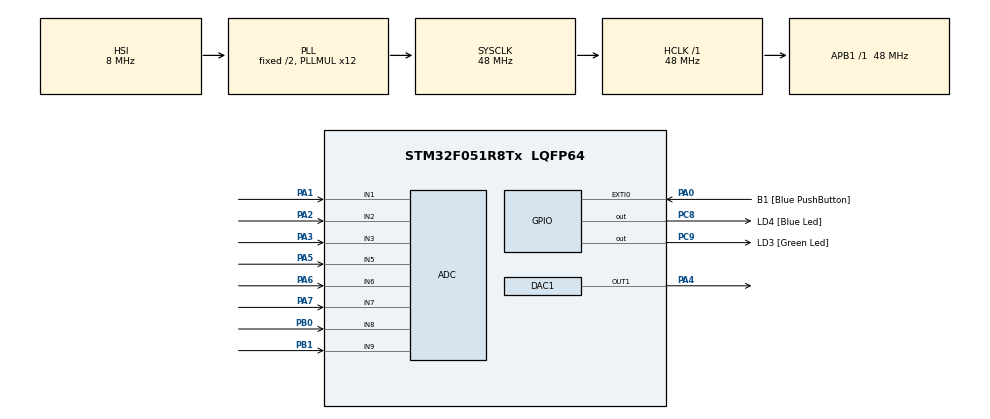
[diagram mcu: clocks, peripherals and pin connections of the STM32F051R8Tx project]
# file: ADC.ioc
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ADC.ContinuousConvMode=ENABLE
ADC.SamplingTime=ADC_SAMPLETIME_239CYCLES_5
Dma.ADC.0.Direction=DMA_PERIPH_TO_MEMORY
Dma.ADC.0.Instance=DMA1_Channel1
Dma.ADC.0.MemDataAlignment=DMA_MDATAALIGN_HALFWORD
Dma.ADC.0.MemInc=DMA_MINC_ENABLE
Dma.ADC.0.Mode=DMA_CIRCULAR
Dma.ADC.0.PeriphDataAlignment=DMA_PDATAALIGN_HALFWORD
Dma.ADC.0.PeriphInc=DMA_PINC_DISABLE
Dma.ADC.0.Priority=DMA_PRIORITY_LOW
Dma.Request0=ADC
Mcu.Family=STM32F0
Mcu.Name=STM32F051R8Tx
Mcu.Package=LQFP64
NVIC.ADC1_COMP_IRQn=true\:0\:0\:false\:false\:true\:true
NVIC.DMA1_Channel1_IRQn=true\:0\:0\:false\:false\:true\:false
NVIC.TIM2_IRQn=true\:0\:0\:false\:false\:true\:true
PA0.GPIO_Label=B1 [Blue PushButton]
PA0.GPIO_ModeDefaultEXTI=GPIO_MODE_EVT_RISING
PA0.Signal=GPXTI0
PA1.Mode=IN1
PA1.Signal=ADC_IN1
PA13.GPIO_Label=SWDIO
PA13.Mode=Serial_Wire
PA13.Signal=SYS_SWDIO
PA14.GPIO_Label=SWCLK
PA14.Mode=Serial_Wire
PA14.Signal=SYS_SWCLK
PA2.Mode=IN2
PA2.Signal=ADC_IN2
PA3.Mode=IN3
PA3.Signal=ADC_IN3
PA4.Signal=COMP_DAC11_group
PA5.Mode=IN5
PA5.Signal=ADC_IN5
PA6.Mode=IN6
PA6.Signal=ADC_IN6
PA7.Mode=IN7
PA7.Signal=ADC_IN7
PB0.Mode=IN8
PB0.Signal=ADC_IN8
PB1.Mode=IN9
PB1.Signal=ADC_IN9
PC8.GPIO_Label=LD4 [Blue Led]
PC8.Signal=GPIO_Output
PC9.GPIO_Label=LD3 [Green Led]
PC9.Signal=GPIO_Output
ProjectManager.HeapSize=0x200
ProjectManager.StackSize=0x400
ProjectManager.TargetToolchain=SW4STM32
RCC.AHBFreq_Value=48000000
RCC.APB1Freq_Value=48000000
RCC.APB1TimFreq_Value=48000000
RCC.HCLKFreq_Value=48000000
RCC.PLLMUL=RCC_PLL_MUL12
RCC.SYSCLKFreq_VALUE=48000000
RCC.SYSCLKSource=RCC_SYSCLKSOURCE_PLLCLK
SH.COMP_DAC11_group.0=DAC1_OUT1,DAC_OUT1
TIM2.Period=1
TIM2.Prescaler=47999
VP_TIM2_VS_ClockSourceINT.Mode=Internal
board=STM32F0DISCOVERY

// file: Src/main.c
/**
  ******************************************************************************
  * @file           : main.c
  * @brief          : Main program body
  ******************************************************************************
  ** This notice applies to any and all portions of this file
  * that are not between comment pairs USER CODE BEGIN and
  * USER CODE END. Other portions of this file, whether
  * inserted by the user or by software development tools
  * are owned by their respective copyright owners.
  *
  * COPYRIGHT(c) 2018 STMicroelectronics
  *
  * Redistribution and use in source and binary forms, with or without modification,
  * are permitted provided that the following conditions are met:
  *   1. Redistributions of source code must retain the above copyright notice,
  *      this list of conditions and the following disclaimer.
  *   2. Redistributions in binary form must reproduce the above copyright notice,
  *      this list of conditions and the following disclaimer in the documentation
  *      and/or other materials provided with the distribution.
  *   3. Neither the name of STMicroelectronics nor the names of its contributors
  *      may be used to endorse or promote products derived from this software
  *      without specific prior written permission.
  *
  * THIS SOFTWARE IS PROVIDED BY THE COPYRIGHT HOLDERS AND CONTRIBUTORS "AS IS"
  * AND ANY EXPRESS OR IMPLIED WARRANTIES, INCLUDING, BUT NOT LIMITED TO, THE
  * IMPLIED WARRANTIES OF MERCHANTABILITY AND FITNESS FOR A PARTICULAR PURPOSE ARE
  * DISCLAIMED. IN NO EVENT SHALL THE COPYRIGHT HOLDER OR CONTRIBUTORS BE LIABLE
  * FOR ANY DIRECT, INDIRECT, INCIDENTAL, SPECIAL, EXEMPLARY, OR CONSEQUENTIAL
  * DAMAGES (INCLUDING, BUT NOT LIMITED TO, PROCUREMENT OF SUBSTITUTE GOODS OR
  * SERVICES; LOSS OF USE, DATA, OR PROFITS; OR BUSINESS INTERRUPTION) HOWEVER
  * CAUSED AND ON ANY THEORY OF LIABILITY, WHETHER IN CONTRACT, STRICT LIABILITY,
  * OR TORT (INCLUDING NEGLIGENCE OR OTHERWISE) ARISING IN ANY WAY OUT OF THE USE
  * OF THIS SOFTWARE, EVEN IF ADVISED OF THE POSSIBILITY OF SUCH DAMAGE.
  *
  ******************************************************************************
  */
#include "main.h"
#include "stm32f0xx_hal.h"
#include <math.h>

ADC_HandleTypeDef hadc;
DMA_HandleTypeDef hdma_adc;

DAC_HandleTypeDef hdac1;

TIM_HandleTypeDef htim2;

/* USER CODE BEGIN PV */
/* Private variables ---------------------------------------------------------*/
float Fe = 44100; //Fréquence d'échantillonnage
float DAC_data;
uint16_t ADC_data[8];
/* 0 : Selecteur du filtre --> 5 choix
 * 1 : wc_passeBas --> de 0 à 20k
 * 2 : wc_passeHaut --> de 0 à 20k
 * 3 : wc_passeBande --> de 0 à 20k
 * 4 : Q_pb --> de 0 à 100
 * 5 : wc_coupeBande --> de 0 à 20k
 * 6 : Q_cb --> de 0 à 100
 * 7 : signal en entrée
 */
int numeroFiltre;
float wc_passeBas; //fréquence de coupure
float wc_passeHaut;
float w0_passeBande;
float Q_pb;
float w0_coupeBande;
float Q_cb;

float signal[3]; // signal[t, t-1]
float stk_signal1 = 0;
float stk_signal2 = 0;

float sortie[3]; // sortie[t, t-1]
float stk_sortie1 = 0;
float stk_sortie2 = 0;

float Gain = 7;
/* USER CODE END PV */

void SystemClock_Config(void);
static void MX_GPIO_Init(void);
static void MX_DMA_Init(void);
static void MX_ADC_Init(void);
static void MX_DAC1_Init(void);
static void MX_TIM2_Init(void);

/* USER CODE BEGIN PFP */
/* Private function prototypes -----------------------------------------------*/

/* USER CODE END PFP */

/* USER CODE BEGIN 0 */

void filtrePasseBas(float wc_passeBas) {

	stk_sortie1 = sortie[2];

	sortie[2] = (Gain*signal[2]*wc_passeBas + Gain*signal[1] - (1 - 2*Fe)*sortie[1])/ (wc_passeBas + 2*Fe);

	sortie[1] = stk_sortie1;

}

void filtrePasseHaut(float wc_passeHaut) {

	stk_sortie1 = sortie[2];

	sortie[2] = (2*Gain*Fe*signal[2] - 2*Gain*Fe*signal[1] - (wc_passeHaut - 2*Fe)*sortie[0]) / (wc_passeHaut + 2*Fe);

	sortie[1] = stk_sortie1;

}

void filtrePasseBande(float w0_passeBande, float Q_pb) {
	stk_sortie2 = sortie[2];
	stk_sortie1 = sortie[1];

	sortie[2] = (2*w0_passeBande*Fe*signal[2] - 2*w0_passeBande*Fe*signal[0] + (8*Q_pb*pow(Fe,2) - 2*Q_pb*pow(w0_passeBande,2))*sortie[1] + (2*Fe*w0_passeBande - 4*Q_pb*pow(Fe,2) - Q_pb*pow(w0_passeBande,2))*sortie[0]) / (2*Fe*w0_passeBande + 4*Q_pb*pow(Fe,2) + Q_pb*pow(w0_passeBande,2));

	sortie[0] = stk_sortie1;
	sortie[1] = stk_sortie2;
}

void filtreCoupeBande(float w0_coupeBande,float Q_cb) {
	stk_sortie2 = sortie[2];
	stk_sortie1 = sortie[1];

	sortie[2] = ((4*Q_cb*pow(Fe,2) + Q_cb*pow(w0_coupeBande,2))*signal[2] + (2*Q_cb*pow(w0_coupeBande,2) - 8*Q_cb*pow(Fe,2))*signal[1] + (4*Q_cb*pow(Fe,2) + Q_cb*pow(w0_coupeBande,2))*signal[0] + (8*Q_cb*pow(Fe,2) - 2*Q_cb*pow(w0_coupeBande,2))*sortie[1] + (2*Fe*w0_coupeBande - 4*Q_cb*pow(Fe,2) - Q_cb*pow(w0_coupeBande,2))*sortie[0])/(2*Fe*w0_coupeBande + 4*Q_cb*pow(Fe,2) + Q_cb*pow(w0_coupeBande,2));

	sortie[0] = stk_sortie1;
	sortie[1] = stk_sortie2;
}

void filtrePasseTout() {
	sortie[2] = signal[2];
}

void choixFiltre(int numeroFiltre) {
	switch(numeroFiltre) {

	case 1:

		wc_passeBas = 2695*ADC_data[1]/4095 + 408;

		stk_signal1 = signal[2];

		signal[2] = ADC_data[7]; //ADC_data[7]*(3.3/4095);

		signal[1] = stk_signal1;

		filtrePasseBas(wc_passeBas);
		break;

	case 2:

		wc_passeHaut = 2695*ADC_data[2]/4095 + 408;

		stk_signal1 = signal[2];

		signal[2] = ADC_data[7]; //ADC_data[7]*(3.3/4095);

		signal[1] = stk_signal1;

		filtrePasseHaut(wc_passeHaut);
		break;

	case 3:

		//w0_passeBande = 2695*ADC_data[3]/4095 + 408;
		//Q_pb = 100*ADC_data[4]/4095;

		w0_passeBande = 2*3.14*100;
		Q_pb = 100;

		stk_signal2 = signal[2];
		stk_signal1 = signal[1];

		signal[2] = ADC_data[7]; //ADC_data[7]*(3.3/4095);

		signal[0] = stk_signal1;
		signal[1] = stk_sortie2;

		filtrePasseBande(w0_passeBande, Q_pb);
		break;

	case 4:

		//w0_coupeBande = 2695*ADC_data[5]/4095 + 408;
		//Q_cb = 100*ADC_data[6]/4095;

		stk_signal2 = signal[2];
		stk_signal1 = signal[1];

		stk_signal1 = signal[1];

		signal[1] = ADC_data[7]; //ADC_data[7]*(3.3/4095);

		signal[0] = stk_signal1;
		signal[1] = stk_sortie2;

		filtreCoupeBande(w0_coupeBande, Q_cb);
		break;

	default:

		signal[2] = ADC_data[7]; //ADC_data[7]*(3.3/4095);

		filtrePasseTout();

	}
}

void HAL_TIM_PeriodElapsedCallback(TIM_HandleTypeDef *htim) {
    if (htim->Instance==TIM2) {

    		HAL_ADC_Start_DMA(&hadc, (uint32_t*)ADC_data, 8);
    		HAL_DAC_Start(&hdac1, DAC_CHANNEL_1);

    		numeroFiltre = 0;
    		choixFiltre(numeroFiltre);

    		HAL_ADC_Start_DMA(&hadc, (uint32_t*)ADC_data, 8);
    		HAL_DAC_Start(&hdac1, DAC_CHANNEL_1);

    		//HAL_DAC_SetValue(&hdac1, DAC_CHANNEL_1,  DAC_ALIGN_12B_R, sortie[2] + 2048); //pour passe haut
    		HAL_DAC_SetValue(&hdac1, DAC_CHANNEL_1,  DAC_ALIGN_12B_R, sortie[2]);
    		DAC_data = HAL_DAC_GetValue(&hdac1, DAC_CHANNEL_1);
    }
}

/* USER CODE END 0 */

int main(void)
{

  /* MCU Configuration----------------------------------------------------------*/

  /* Reset of all peripherals, Initializes the Flash interface and the Systick. */
  HAL_Init();

  /* Configure the system clock */
  SystemClock_Config();

  /* Initialize all configured peripherals */
  MX_GPIO_Init();
  MX_DMA_Init();
  MX_ADC_Init();
  MX_DAC1_Init();
  MX_TIM2_Init();
  /* USER CODE BEGIN 2 */
  HAL_ADC_Start_DMA(&hadc, (uint32_t*)ADC_data, 8);
  HAL_DAC_Start(&hdac1, DAC_CHANNEL_1);
  /* USER CODE END 2 */

  /* Infinite loop */
  while (1)
  {

  }

}

void SystemClock_Config(void)
{

  RCC_OscInitTypeDef RCC_OscInitStruct;
  RCC_ClkInitTypeDef RCC_ClkInitStruct;

    /**Initializes the CPU, AHB and APB busses clocks
    */
  RCC_OscInitStruct.OscillatorType = RCC_OSCILLATORTYPE_HSI|RCC_OSCILLATORTYPE_HSI14;
  RCC_OscInitStruct.HSIState = RCC_HSI_ON;
  RCC_OscInitStruct.HSI14State = RCC_HSI14_ON;
  RCC_OscInitStruct.HSICalibrationValue = 16;
  RCC_OscInitStruct.HSI14CalibrationValue = 16;
  RCC_OscInitStruct.PLL.PLLState = RCC_PLL_ON;
  RCC_OscInitStruct.PLL.PLLSource = RCC_PLLSOURCE_HSI;
  RCC_OscInitStruct.PLL.PLLMUL = RCC_PLL_MUL12;
  RCC_OscInitStruct.PLL.PREDIV = RCC_PREDIV_DIV1;
  if (HAL_RCC_OscConfig(&RCC_OscInitStruct) != HAL_OK)
  {
    _Error_Handler(__FILE__, __LINE__);
  }

    /**Initializes the CPU, AHB and APB busses clocks
    */
  RCC_ClkInitStruct.ClockType = RCC_CLOCKTYPE_HCLK|RCC_CLOCKTYPE_SYSCLK
                              |RCC_CLOCKTYPE_PCLK1;
  RCC_ClkInitStruct.SYSCLKSource = RCC_SYSCLKSOURCE_PLLCLK;
  RCC_ClkInitStruct.AHBCLKDivider = RCC_SYSCLK_DIV1;
  RCC_ClkInitStruct.APB1CLKDivider = RCC_HCLK_DIV1;

  if (HAL_RCC_ClockConfig(&RCC_ClkInitStruct, FLASH_LATENCY_1) != HAL_OK)
  {
    _Error_Handler(__FILE__, __LINE__);
  }

    /**Configure the Systick interrupt time
    */
  HAL_SYSTICK_Config(HAL_RCC_GetHCLKFreq()/1000);

    /**Configure the Systick
    */
  HAL_SYSTICK_CLKSourceConfig(SYSTICK_CLKSOURCE_HCLK);

  /* SysTick_IRQn interrupt configuration */
  HAL_NVIC_SetPriority(SysTick_IRQn, 0, 0);
}

/* ADC init function */
static void MX_ADC_Init(void)
{

  ADC_ChannelConfTypeDef sConfig;

    /**Configure the global features of the ADC (Clock, Resolution, Data Alignment and number of conversion)
    */
  hadc.Instance = ADC1;
  hadc.Init.ClockPrescaler = ADC_CLOCK_ASYNC_DIV1;
  hadc.Init.Resolution = ADC_RESOLUTION_12B;
  hadc.Init.DataAlign = ADC_DATAALIGN_RIGHT;
  hadc.Init.ScanConvMode = ADC_SCAN_DIRECTION_FORWARD;
  hadc.Init.EOCSelection = ADC_EOC_SINGLE_CONV;
  hadc.Init.LowPowerAutoWait = DISABLE;
  hadc.Init.LowPowerAutoPowerOff = DISABLE;
  hadc.Init.ContinuousConvMode = ENABLE;
  hadc.Init.DiscontinuousConvMode = DISABLE;
  hadc.Init.ExternalTrigConv = ADC_SOFTWARE_START;
  hadc.Init.ExternalTrigConvEdge = ADC_EXTERNALTRIGCONVEDGE_NONE;
  hadc.Init.DMAContinuousRequests = DISABLE;
  hadc.Init.Overrun = ADC_OVR_DATA_PRESERVED;
  if (HAL_ADC_Init(&hadc) != HAL_OK)
  {
    _Error_Handler(__FILE__, __LINE__);
  }

    /**Configure for the selected ADC regular channel to be converted.
    */
  sConfig.Channel = ADC_CHANNEL_1;
  sConfig.Rank = ADC_RANK_CHANNEL_NUMBER;
  sConfig.SamplingTime = ADC_SAMPLETIME_239CYCLES_5;
  if (HAL_ADC_ConfigChannel(&hadc, &sConfig) != HAL_OK)
  {
    _Error_Handler(__FILE__, __LINE__);
  }

    /**Configure for the selected ADC regular channel to be converted.
    */
  sConfig.Channel = ADC_CHANNEL_2;
  if (HAL_ADC_ConfigChannel(&hadc, &sConfig) != HAL_OK)
  {
    _Error_Handler(__FILE__, __LINE__);
  }

    /**Configure for the selected ADC regular channel to be converted.
    */
  sConfig.Channel = ADC_CHANNEL_3;
  if (HAL_ADC_ConfigChannel(&hadc, &sConfig) != HAL_OK)
  {
    _Error_Handler(__FILE__, __LINE__);
  }

    /**Configure for the selected ADC regular channel to be converted.
    */
  sConfig.Channel = ADC_CHANNEL_5;
  if (HAL_ADC_ConfigChannel(&hadc, &sConfig) != HAL_OK)
  {
    _Error_Handler(__FILE__, __LINE__);
  }

    /**Configure for the selected ADC regular channel to be converted.
    */
  sConfig.Channel = ADC_CHANNEL_6;
  if (HAL_ADC_ConfigChannel(&hadc, &sConfig) != HAL_OK)
  {
    _Error_Handler(__FILE__, __LINE__);
  }

    /**Configure for the selected ADC regular channel to be converted.
    */
  sConfig.Channel = ADC_CHANNEL_7;
  if (HAL_ADC_ConfigChannel(&hadc, &sConfig) != HAL_OK)
  {
    _Error_Handler(__FILE__, __LINE__);
  }

    /**Configure for the selected ADC regular channel to be converted.
    */
  sConfig.Channel = ADC_CHANNEL_8;
  if (HAL_ADC_ConfigChannel(&hadc, &sConfig) != HAL_OK)
  {
    _Error_Handler(__FILE__, __LINE__);
  }

    /**Configure for the selected ADC regular channel to be converted.
    */
  sConfig.Channel = ADC_CHANNEL_9;
  if (HAL_ADC_ConfigChannel(&hadc, &sConfig) != HAL_OK)
  {
    _Error_Handler(__FILE__, __LINE__);
  }

}

/* DAC1 init function */
static void MX_DAC1_Init(void)
{

  DAC_ChannelConfTypeDef sConfig;

    /**DAC Initialization
    */
  hdac1.Instance = DAC;
  if (HAL_DAC_Init(&hdac1) != HAL_OK)
  {
    _Error_Handler(__FILE__, __LINE__);
  }

    /**DAC channel OUT1 config
    */
  sConfig.DAC_Trigger = DAC_TRIGGER_NONE;
  sConfig.DAC_OutputBuffer = DAC_OUTPUTBUFFER_ENABLE;
  if (HAL_DAC_ConfigChannel(&hdac1, &sConfig, DAC_CHANNEL_1) != HAL_OK)
  {
    _Error_Handler(__FILE__, __LINE__);
  }

}

/* TIM2 init function */
static void MX_TIM2_Init(void)
{

  TIM_ClockConfigTypeDef sClockSourceConfig;
  TIM_MasterConfigTypeDef sMasterConfig;

  htim2.Instance = TIM2;
  htim2.Init.Prescaler = 47999;
  htim2.Init.CounterMode = TIM_COUNTERMODE_UP;
  htim2.Init.Period = 1;
  htim2.Init.ClockDivision = TIM_CLOCKDIVISION_DIV1;
  htim2.Init.AutoReloadPreload = TIM_AUTORELOAD_PRELOAD_DISABLE;
  if (HAL_TIM_Base_Init(&htim2) != HAL_OK)
  {
    _Error_Handler(__FILE__, __LINE__);
  }

  sClockSourceConfig.ClockSource = TIM_CLOCKSOURCE_INTERNAL;
  if (HAL_TIM_ConfigClockSource(&htim2, &sClockSourceConfig) != HAL_OK)
  {
    _Error_Handler(__FILE__, __LINE__);
  }

  sMasterConfig.MasterOutputTrigger = TIM_TRGO_RESET;
  sMasterConfig.MasterSlaveMode = TIM_MASTERSLAVEMODE_DISABLE;
  if (HAL_TIMEx_MasterConfigSynchronization(&htim2, &sMasterConfig) != HAL_OK)
  {
    _Error_Handler(__FILE__, __LINE__);
  }

}

static void MX_DMA_Init(void)
{
  /* DMA controller clock enable */
  __HAL_RCC_DMA1_CLK_ENABLE();

  /* DMA interrupt init */
  /* DMA1_Channel1_IRQn interrupt configuration */
  HAL_NVIC_SetPriority(DMA1_Channel1_IRQn, 0, 0);
  HAL_NVIC_EnableIRQ(DMA1_Channel1_IRQn);

}

/** Configure pins as
        * Analog
        * Input
        * Output
        * EVENT_OUT
        * EXTI
*/
static void MX_GPIO_Init(void)
{

  GPIO_InitTypeDef GPIO_InitStruct;

  /* GPIO Ports Clock Enable */
  __HAL_RCC_GPIOA_CLK_ENABLE();
  __HAL_RCC_GPIOB_CLK_ENABLE();
  __HAL_RCC_GPIOC_CLK_ENABLE();

  /*Configure GPIO pin Output Level */
  HAL_GPIO_WritePin(GPIOC, LD4_Pin|LD3_Pin, GPIO_PIN_RESET);

  /*Configure GPIO pin : B1_Pin */
  GPIO_InitStruct.Pin = B1_Pin;
  GPIO_InitStruct.Mode = GPIO_MODE_EVT_RISING;
  GPIO_InitStruct.Pull = GPIO_NOPULL;
  HAL_GPIO_Init(B1_GPIO_Port, &GPIO_InitStruct);

  /*Configure GPIO pins : LD4_Pin LD3_Pin */
  GPIO_InitStruct.Pin = LD4_Pin|LD3_Pin;
  GPIO_InitStruct.Mode = GPIO_MODE_OUTPUT_PP;
  GPIO_InitStruct.Pull = GPIO_NOPULL;
  GPIO_InitStruct.Speed = GPIO_SPEED_FREQ_LOW;
  HAL_GPIO_Init(GPIOC, &GPIO_InitStruct);

}

void _Error_Handler(char *file, int line)
{
  while(1)
  {
  }
}

/************************ (C) COPYRIGHT STMicroelectronics *****END OF FILE****/
